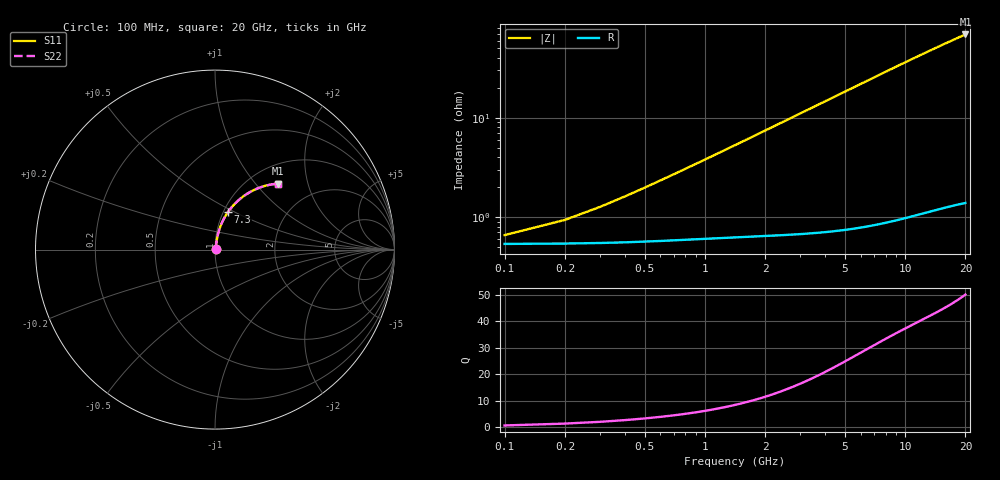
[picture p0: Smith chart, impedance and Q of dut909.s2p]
! Touchstone file exported from HFSS 2026.1.0
!  File:  C:/ffzhzh/LocalFiles/Ansys_Project_Files/temp_train_TMRDL_909_1783157965_43440.aedt
!  Generated:  05:40:43 PM Jul  4, 2026
!  Design:  TMRDL
!  Project:  temp_train_TMRDL_909_1783157965_43440
! Variables:
!  h_bsmrdl = 2um
!  h_ox = 20um
!  h_rdl = 5um
!  h_sub = 80um
!  h_tmrdl = 2.68um
!  h_tsv = 80um
!  h_via = 3um
!  l_bsmrdl = 300um
!  l_sub = 905.06um
!  l_tmrdl = 505.06um
!  m_sub = 200um
!  pitch = 57.04um
!  r_tsv = 6um
!  s_tmrdl = 10um
!  w_bsmrdl = 18um
!  w_sub = 500um
!  w_tmrdl = 12.79um
!  x_tsv_center1 = 511.455um
!  x_tsv_center2 = 829.455um
!  x_tsv_center3 = 1347.305um
!  x_tsv_center4 = 1665.305um
!  x_tsv_center5 = 2183.155um
!  x_tsv_center6 = 2501.155um
# GHz S MA R 50.000000
! Terminal data exported
! Port[1] = TM_RDL1_1_T1
! Port[2] = TM_RDL1_1_T2
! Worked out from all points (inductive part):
!   200 points, 100 MHz to 20 GHz, reference 50 ohm
!   read as one part in series: L = 599 pH near 500 MHz
!   highest Q = 50 at 20 GHz (marker M1), where L = 551 pH
!   S11 on the Smith chart (normalised r, x): 100 MHz: 1.01, +0.01; 7.3 GHz: 1.05, +0.47; 20 GHz: 1.33, +1.32
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0.1  0.006263 31.6  0.9947 -0.2  0.9947 -0.2  0.006263 31.6
! Gamma 0 0 0 0
! Port Impedance 50 0 50 0
0.3  0.01126 60.4  0.9945 -0.7  0.9945 -0.7  0.01126 60.4
0.4  0.01422 66.2  0.9944 -1.0  0.9944 -1.0  0.01422 66.2
0.5  0.01726 69.8  0.9943 -1.2  0.9943 -1.2  0.01726 69.8
0.6  0.02033 72.3  0.9941 -1.5  0.9941 -1.5  0.02033 72.3
0.8  0.02652 75.3  0.9938 -1.9  0.9938 -1.9  0.02652 75.3
1.1  0.03584 77.6  0.9933 -2.7  0.9933 -2.7  0.03584 77.6
1.5  0.04828 79.0  0.9926 -3.6  0.9926 -3.6  0.04828 79.0
1.8  0.05762 79.4  0.992 -4.3  0.992 -4.3  0.05762 79.4
2.1  0.06695 79.5  0.9914 -5.0  0.9914 -5.0  0.06695 79.5
2.7  0.08559 79.1  0.9898 -6.4  0.9898 -6.4  0.08559 79.2
3.5  0.1103 78.1  0.9871 -8.3  0.9871 -8.3  0.1103 78.1
4.2  0.1317 77.0  0.9843 -10.0  0.9843 -10.0  0.1317 77.0
5  0.1558 75.5  0.9805 -11.8  0.9805 -11.8  0.1558 75.5
5.9  0.1825 73.7  0.9756 -13.9  0.9756 -13.9  0.1825 73.7
6.8  0.2086 71.9  0.9701 -15.9  0.9701 -15.9  0.2086 71.9
7.3  0.2228 70.8  0.9667 -17.1  0.9667 -17.1  0.2228 70.8
8.6  0.2589 68.1  0.9573 -20.0  0.9573 -20.0  0.2589 68.1
10.1  0.2986 65.0  0.9451 -23.2  0.9451 -23.2  0.2986 65.0
13.4  0.3786 58.4  0.9151 -30.0  0.9151 -30.0  0.3786 58.4
16.7  0.448 52.2  0.8827 -36.4  0.8827 -36.4  0.448 52.2
20  0.5072 46.4  0.8499 -42.2  0.8499 -42.2  0.5072 46.4
